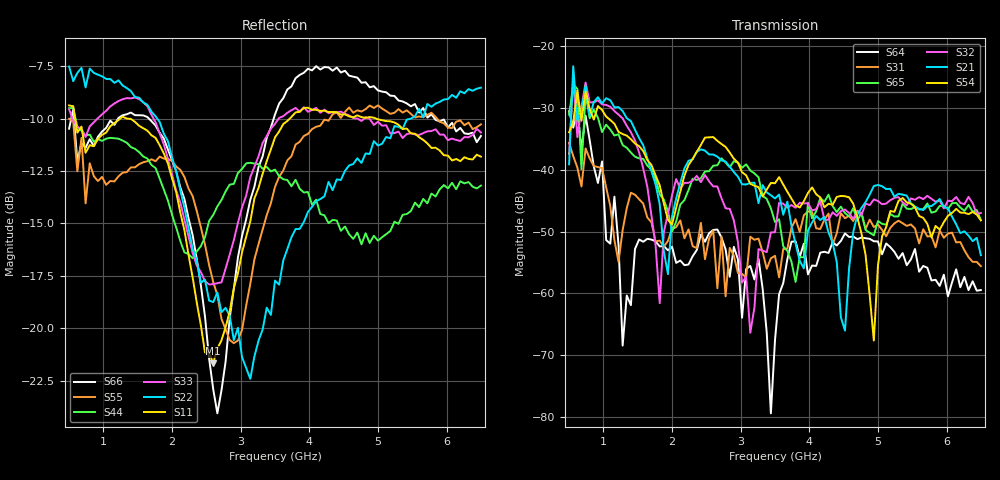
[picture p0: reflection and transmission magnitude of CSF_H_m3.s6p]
!Keysight Technologies,M9804A,MY58100912,A.14.10.03
!Date: Thursday, April 27, 2023 10:28:33
!Correction: S11(C  6-Port  )
!S12(C  6-Port  )
!S13(C  6-Port  )
!S14(C  6-Port  )
!S15(C  6-Port  )
!S16(C  6-Port  )
!S21(C  6-Port  )
!S22(C  6-Port  )
!S23(C  6-Port  )
!S24(C  6-Port  )
!S25(C  6-Port  )
!S26(C  6-Port  )
!S31(C  6-Port  )
!S32(C  6-Port  )
!S33(C  6-Port  )
!S34(C  6-Port  )
!S35(C  6-Port  )
!S36(C  6-Port  )
!S41(C  6-Port  )
!S42(C  6-Port  )
!S43(C  6-Port  )
!S44(C  6-Port  )
!S45(C  6-Port  )
!S46(C  6-Port  )
!S51(C  6-Port  )
!S52(C  6-Port  )
!S53(C  6-Port  )
!S54(C  6-Port  )
!S55(C  6-Port  )
!S56(C  6-Port  )
!S61(C  6-Port  )
!S62(C  6-Port  )
!S63(C  6-Port  )
!S64(C  6-Port  )
!S65(C  6-Port  )
!S66(C  6-Port  )
!S6P File: Measurement: :
# Hz S  RI  R 50
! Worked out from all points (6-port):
!   101 points, 500 MHz to 6.5 GHz, reference 50 ohm
!   strongest paths, dB at 500 MHz, 2 GHz, 3.5 GHz, 5 GHz, 6.5 GHz:
!     S54: -33.9, -48.8, -42.2, -55.5, -48.2
!     S21: -39.1, -47.6, -44.6, -42.5, -53.8
!     S32: -37.4, -44.1, -50.1, -45.0, -47.0
!     S65: -31.1, -50.0, -48.4, -48.3, -48.1
!     S31: -35.7, -49.6, -53.9, -48.9, -55.6
!     S64: -30.5, -52.5, -67.5, -51.6, -59.4
!   lowest |S11| = -21.7 dB at 2.6 GHz (marker M1), VSWR 1.18, Z = 42.6 + j1.99 ohm
!   |S11| at or under -10 dB: 588.1 MHz to 1.245 GHz (657.2 MHz wide, 71.7 % of centre); 1.349 GHz to 3.715 GHz (2.365 GHz wide, 93.4 % of centre); 4.973 GHz to end of sweep
